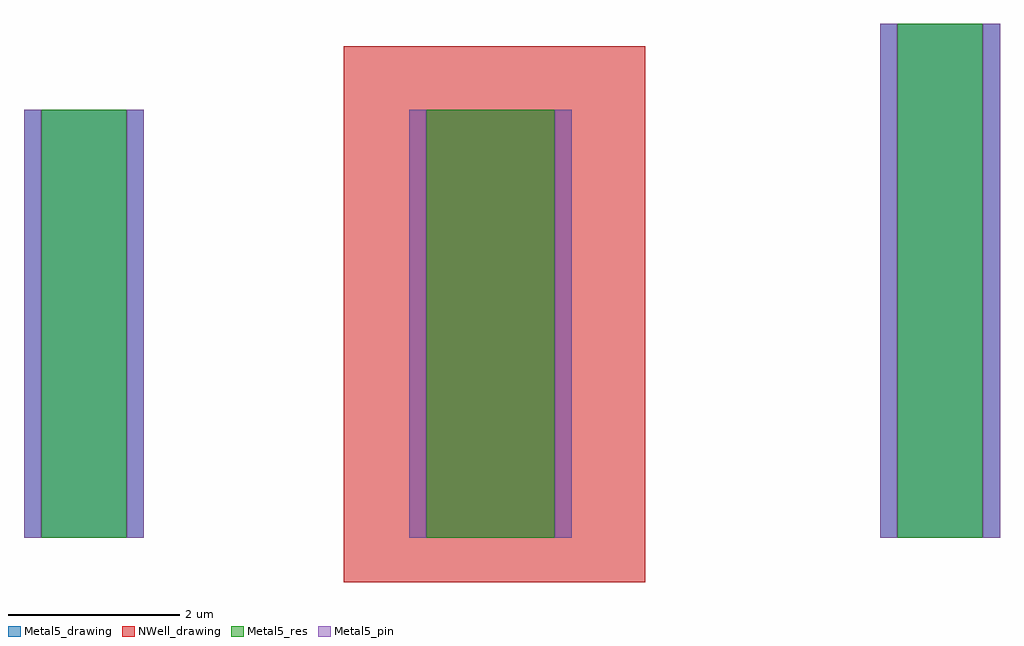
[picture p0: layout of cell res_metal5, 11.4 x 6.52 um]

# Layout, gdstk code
import gdstk
lib = gdstk.Library(unit=1e-6, precision=1e-09)
def R(c, l, rs):  # rectangles x0, y0, x1, y1
    for r in rs: c.add(gdstk.rectangle(r[:2], r[2:], *l))
NWell_drawing = (31, 0)
Metal5_drawing = (67, 0)
Metal5_pin = (67, 2)
Metal5_res = (67, 29)

res_metal5 = lib.new_cell('res_metal5')
R(res_metal5, NWell_drawing, [(3.032,-0.519,6.556,5.737)])
R(res_metal5, Metal5_drawing, [(-0.7,0,0.7,5), (-0.5,0,0.5,5), (3.8,0,5.2,5), (4.7,0,5.7,5), (9.3,0,10.7,6), (9.5,0,10.5,6)])
R(res_metal5, Metal5_pin, [(-0.7,0,-0.5,5), (0.5,0,0.7,5), (3.8,0,4,5), (5.5,0,5.7,5), (9.3,0,9.5,6), (10.5,0,10.7,6)])
R(res_metal5, Metal5_res, [(-0.5,0,0.5,5), (4,0,5.5,5), (9.5,0,10.5,6)])

lib.write_gds('res_metal5.gds')
